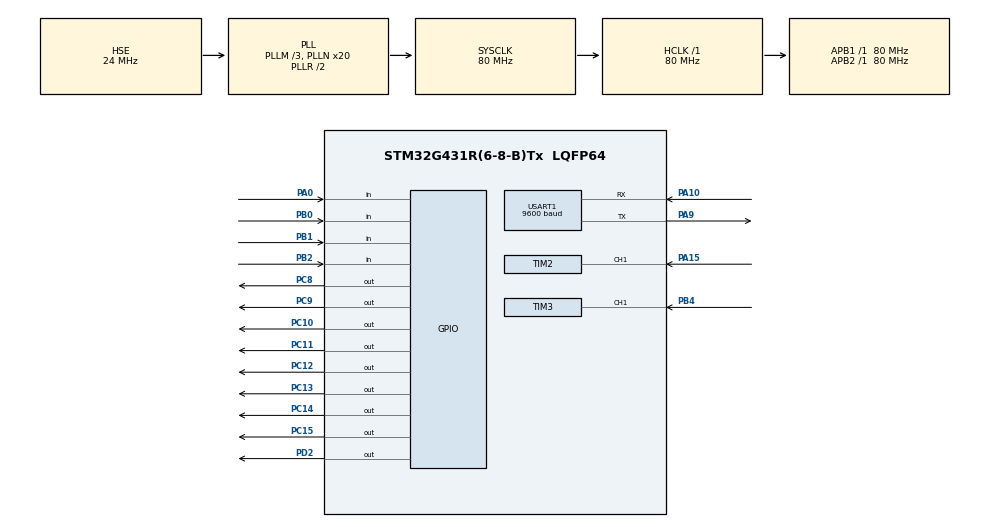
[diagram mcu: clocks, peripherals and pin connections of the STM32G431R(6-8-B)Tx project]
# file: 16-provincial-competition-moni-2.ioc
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Mcu.Family=STM32G4
Mcu.Name=STM32G431R(6-8-B)Tx
Mcu.Package=LQFP64
NVIC.PriorityGroup=NVIC_PRIORITYGROUP_4
NVIC.TIM2_IRQn=true\:0\:0\:false\:false\:true\:true\:true\:true
NVIC.TIM3_IRQn=true\:0\:0\:false\:false\:true\:true\:true\:true
NVIC.TIM6_DAC_IRQn=true\:0\:0\:false\:false\:true\:true\:true\:true
NVIC.USART1_IRQn=true\:0\:0\:false\:false\:true\:true\:true\:true
PA0.GPIO_Mode=GPIO_MODE_INPUT
PA0.GPIO_PuPd=GPIO_PULLUP
PA0.Signal=GPIO_Input
PA10.Mode=Asynchronous
PA10.Signal=USART1_RX
PA13.Mode=Serial_Wire
PA13.Signal=SYS_JTMS-SWDIO
PA14.Mode=Serial_Wire
PA14.Signal=SYS_JTCK-SWCLK
PA15.Signal=S_TIM2_CH1
PA9.Mode=Asynchronous
PA9.Signal=USART1_TX
PB0.GPIO_Mode=GPIO_MODE_INPUT
PB0.GPIO_PuPd=GPIO_PULLUP
PB0.Signal=GPIO_Input
PB1.GPIO_Mode=GPIO_MODE_INPUT
PB1.GPIO_PuPd=GPIO_PULLUP
PB1.Signal=GPIO_Input
PB2.GPIO_Mode=GPIO_MODE_INPUT
PB2.GPIO_PuPd=GPIO_PULLUP
PB2.Signal=GPIO_Input
PB4.Signal=S_TIM3_CH1
PC10.PinState=GPIO_PIN_SET
PC10.Signal=GPIO_Output
PC11.PinState=GPIO_PIN_SET
PC11.Signal=GPIO_Output
PC12.PinState=GPIO_PIN_SET
PC12.Signal=GPIO_Output
PC13.PinState=GPIO_PIN_SET
PC13.Signal=GPIO_Output
PC14-OSC32_IN.PinState=GPIO_PIN_SET
PC14-OSC32_IN.Signal=GPIO_Output
PC15-OSC32_OUT.PinState=GPIO_PIN_SET
PC15-OSC32_OUT.Signal=GPIO_Output
PC8.PinState=GPIO_PIN_SET
PC8.Signal=GPIO_Output
PC9.PinState=GPIO_PIN_SET
PC9.Signal=GPIO_Output
PD2.Signal=GPIO_Output
PF0-OSC_IN.Mode=HSE-External-Oscillator
PF0-OSC_IN.Signal=RCC_OSC_IN
PF1-OSC_OUT.Mode=HSE-External-Oscillator
PF1-OSC_OUT.Signal=RCC_OSC_OUT
ProjectManager.HeapSize=0x200
ProjectManager.StackSize=0x400
ProjectManager.TargetToolchain=MDK-ARM V5.32
RCC.ADC12Freq_Value=80000000
RCC.AHBFreq_Value=80000000
RCC.APB1Freq_Value=80000000
RCC.APB1TimFreq_Value=80000000
RCC.APB2Freq_Value=80000000
RCC.APB2TimFreq_Value=80000000
RCC.CortexFreq_Value=80000000
RCC.EXTERNAL_CLOCK_VALUE=12288000
RCC.HCLKFreq_Value=80000000
RCC.HSE_VALUE=24000000
RCC.HSI48_VALUE=48000000
RCC.HSI_VALUE=16000000
RCC.LSE_VALUE=32768
RCC.PLLM=RCC_PLLM_DIV3
RCC.PLLN=20
RCC.PLLSourceVirtual=RCC_PLLSOURCE_HSE
RCC.SYSCLKFreq_VALUE=80000000
RCC.SYSCLKSource=RCC_SYSCLKSOURCE_PLLCLK
RCC.USBFreq_Value=80000000
RCC.VCOOutputFreq_Value=160000000
SH.S_TIM2_CH1.0=TIM2_CH1,Input_Capture1_from_TI1
SH.S_TIM3_CH1.0=TIM3_CH1,Input_Capture1_from_TI1
TIM2.Channel-Input_Capture1_from_TI1=TIM_CHANNEL_1
TIM2.Prescaler=80-1
TIM3.Channel-Input_Capture1_from_TI1=TIM_CHANNEL_1
TIM3.Prescaler=80-1
TIM6.PeriodNoDither=1000-1
TIM6.Prescaler=8000-1
TIM7.Prescaler=8000-1
USART1.BaudRate=9600
USART1.VirtualMode-Asynchronous=VM_ASYNC
VP_SYS_VS_DBSignals.Mode=DisableDeadBatterySignals
VP_TIM6_VS_ClockSourceINT.Mode=Enable_Timer
VP_TIM7_VS_ClockSourceINT.Mode=Enable_Timer
board=custom

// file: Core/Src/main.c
/* USER CODE BEGIN Header */
/**
  ******************************************************************************
  * @file           : main.c
  * @brief          : Main program body
  ******************************************************************************
  * @attention
  *
  * Copyright (c) 2025 STMicroelectronics.
  * All rights reserved.
  *
  * This software is licensed under terms that can be found in the LICENSE file
  * in the root directory of this software component.
  * If no LICENSE file comes with this software, it is provided AS-IS.
  *
  ******************************************************************************
  */
/* USER CODE END Header */
#include "main.h"
#include "tim.h"
#include "usart.h"
#include "gpio.h"

/* USER CODE BEGIN Includes */
#include "stdio.h"
#include "stdint.h"
#include "string.h"
#include "lcd.h"
/* USER CODE END Includes */

/* USER CODE BEGIN PV */
char text[20];char* mode[2] = {"KEY", "USART"};
uint8_t page, mode_cnt, f1_ic_flag=1, f2_ic_flag=1, led3_flag=0, tim_flag;
uint32_t f1, f2, pf=1000;
uint8_t key_val, key_up, key_down, key_last_val;
char send_buf[255], rec_buf[255];uint8_t rec_data, count, rec_flag;
/* USER CODE END PV */

void SystemClock_Config(void);
/* USER CODE BEGIN PFP */
void LCD_Proc(void);
void KEY_Proc(void);
void LED_Proc(void);
void USART_Proc(void);
/* USER CODE END PFP */

int main(void)
{

  /* MCU Configuration--------------------------------------------------------*/

  /* Reset of all peripherals, Initializes the Flash interface and the Systick. */
  HAL_Init();

  /* Configure the system clock */
  SystemClock_Config();

  /* Initialize all configured peripherals */
  MX_GPIO_Init();
  MX_TIM2_Init();
  MX_TIM3_Init();
  MX_TIM6_Init();
  MX_TIM7_Init();
  MX_USART1_UART_Init();
  /* USER CODE BEGIN 2 */
    // LCD
    LCD_Init();
    LCD_Clear(Black);
    LCD_SetBackColor(Black);
    LCD_SetTextColor(White);
    // TIM
    HAL_TIM_IC_Start_IT(&htim2, TIM_CHANNEL_1);  // PA15---R40
    HAL_TIM_IC_Start_IT(&htim3, TIM_CHANNEL_1);  // PB4----R39
    TIM6->CNT=0;
    TIM7->CNT=0;
    HAL_TIM_Base_Start(&htim7);  // USART
    // USART
    HAL_UART_Receive_IT(&huart1, &rec_data, 1);
  /* USER CODE END 2 */

  /* Infinite loop */
  /* USER CODE BEGIN WHILE */
  while (1)
  {
      KEY_Proc();
      if(f1_ic_flag==0){
          HAL_TIM_IC_Stop_IT(&htim3, TIM_CHANNEL_1);
          TIM3->CNT=0;
      }else{
          HAL_TIM_IC_Start_IT(&htim3, TIM_CHANNEL_1);
      }
      if(f2_ic_flag==0){
          HAL_TIM_IC_Stop_IT(&htim2, TIM_CHANNEL_1);
          TIM2->CNT=0;
      }else{
          HAL_TIM_IC_Start_IT(&htim2, TIM_CHANNEL_1);
      }
      USART_Proc();
      LCD_Proc();
      if(f1<pf && f2<pf){
          if(tim_flag==0){
              __HAL_TIM_CLEAR_FLAG(&htim6, TIM_FLAG_UPDATE);
              HAL_TIM_Base_Start_IT(&htim6);  // LED3
              tim_flag=1;
          }
      }else{
          if(tim_flag==1){
              led3_flag=0;
              HAL_TIM_Base_Stop_IT(&htim6);  // LED3
              TIM6->CNT=0;
              tim_flag=0;
          }
      }
      LED_Proc();
    /* USER CODE END WHILE */

  }
}

void SystemClock_Config(void)
{
  RCC_OscInitTypeDef RCC_OscInitStruct = {0};
  RCC_ClkInitTypeDef RCC_ClkInitStruct = {0};

  /** Configure the main internal regulator output voltage
  */
  HAL_PWREx_ControlVoltageScaling(PWR_REGULATOR_VOLTAGE_SCALE1);

  /** Initializes the RCC Oscillators according to the specified parameters
  * in the RCC_OscInitTypeDef structure.
  */
  RCC_OscInitStruct.OscillatorType = RCC_OSCILLATORTYPE_HSE;
  RCC_OscInitStruct.HSEState = RCC_HSE_ON;
  RCC_OscInitStruct.PLL.PLLState = RCC_PLL_ON;
  RCC_OscInitStruct.PLL.PLLSource = RCC_PLLSOURCE_HSE;
  RCC_OscInitStruct.PLL.PLLM = RCC_PLLM_DIV3;
  RCC_OscInitStruct.PLL.PLLN = 20;
  RCC_OscInitStruct.PLL.PLLP = RCC_PLLP_DIV2;
  RCC_OscInitStruct.PLL.PLLQ = RCC_PLLQ_DIV2;
  RCC_OscInitStruct.PLL.PLLR = RCC_PLLR_DIV2;
  if (HAL_RCC_OscConfig(&RCC_OscInitStruct) != HAL_OK)
  {
    Error_Handler();
  }

  /** Initializes the CPU, AHB and APB buses clocks
  */
  RCC_ClkInitStruct.ClockType = RCC_CLOCKTYPE_HCLK|RCC_CLOCKTYPE_SYSCLK
                              |RCC_CLOCKTYPE_PCLK1|RCC_CLOCKTYPE_PCLK2;
  RCC_ClkInitStruct.SYSCLKSource = RCC_SYSCLKSOURCE_PLLCLK;
  RCC_ClkInitStruct.AHBCLKDivider = RCC_SYSCLK_DIV1;
  RCC_ClkInitStruct.APB1CLKDivider = RCC_HCLK_DIV1;
  RCC_ClkInitStruct.APB2CLKDivider = RCC_HCLK_DIV1;

  if (HAL_RCC_ClockConfig(&RCC_ClkInitStruct, FLASH_LATENCY_2) != HAL_OK)
  {
    Error_Handler();
  }
}

/* USER CODE BEGIN 4 */
void LCD_Proc(void){
    if(page==0){
        sprintf(text, "        DATA        ");
        LCD_DisplayStringLine(Line1, (uint8_t*)text);
        sprintf(text, "     F1=%dHZ     ", f1);
        LCD_DisplayStringLine(Line3, (uint8_t*)text);
        sprintf(text, "     F2=%dHZ     ", f2);
        LCD_DisplayStringLine(Line4, (uint8_t*)text);
        sprintf(text, "     MODE=%s     ", mode[mode_cnt]);
        LCD_DisplayStringLine(Line5, (uint8_t*)text);
    }else{
        sprintf(text, "        PARA        ");
        LCD_DisplayStringLine(Line1, (uint8_t*)text);
        sprintf(text, "     PF=%dHZ     ", pf);
        LCD_DisplayStringLine(Line3, (uint8_t*)text);
    }
}
uint8_t KEY_Scan(void){
    uint8_t key_value;
    if(HAL_GPIO_ReadPin(GPIOB, GPIO_PIN_0)==GPIO_PIN_RESET){
        key_value=1;
    }
    if(HAL_GPIO_ReadPin(GPIOB, GPIO_PIN_1)==GPIO_PIN_RESET){
        key_value=2;
    }
    if(HAL_GPIO_ReadPin(GPIOB, GPIO_PIN_2)==GPIO_PIN_RESET){
        key_value=3;
    }
    if(HAL_GPIO_ReadPin(GPIOA, GPIO_PIN_0)==GPIO_PIN_RESET){
        key_value=4;
    }
    return key_value;
}
void KEY_Proc(void){
    key_val=KEY_Scan();
    key_down=key_val&(key_val^key_last_val);
    key_up=~key_val&(key_val^key_last_val);
    key_last_val=key_val;
    if(key_down==1){
        page^=1;
        LCD_Clear(Black);
    }
    if(key_down==2){
        mode_cnt^=1;
    }
    if(key_down==3){
        if(page==0 && mode_cnt==0){
            f1_ic_flag^=1;
        }
        if(page==1){
            pf+=1000;
            if(pf>10000) pf=1000;
        }
    }
    if(key_down==4){
        if(page==0 && mode_cnt==0){
            f2_ic_flag^=1;
        }
        if(page==1){
            pf-=1000;
            if(pf<1000) pf=10000;
        }
    }
}
void LED_Show(uint8_t led, uint8_t mode){
    if(mode){
        HAL_GPIO_WritePin(GPIOC, led<<8, GPIO_PIN_RESET);
        HAL_GPIO_WritePin(GPIOD, GPIO_PIN_2, GPIO_PIN_SET);
        HAL_GPIO_WritePin(GPIOD, GPIO_PIN_2, GPIO_PIN_RESET);
    }else{
        HAL_GPIO_WritePin(GPIOC, led<<8, GPIO_PIN_SET);
        HAL_GPIO_WritePin(GPIOD, GPIO_PIN_2, GPIO_PIN_SET);
        HAL_GPIO_WritePin(GPIOD, GPIO_PIN_2, GPIO_PIN_RESET);
    }
}
void LED_Proc(void){
    if(page==0){
        LED_Show(0x01, 1);
        LED_Show(0x02, 0);
    }else{
        LED_Show(0x01, 0);
        LED_Show(0x02, 1);
    }
    if(mode_cnt==1) LED_Show(0x80, 1);
    else LED_Show(0x80, 0);
    LED_Show(0x04, led3_flag);
}
void USART_Proc(void){
    if(rec_flag){
        if(TIM7->CNT>15){
            if(mode_cnt==1){
                if(strcmp(rec_buf, "TF1")==0){
                    f1_ic_flag=1;
                }else if(strcmp(rec_buf, "TF2")==0){
                    f2_ic_flag=1;
                }else if(strcmp(rec_buf, "PF1")==0){
                    f1_ic_flag=0;
                }else if(strcmp(rec_buf, "PF2")==0){
                    f2_ic_flag=0;
                }else if(strcmp(rec_buf, "F1")==0){
                    sprintf(send_buf, "F1:%dHZ", f1);
                    HAL_UART_Transmit(&huart1, (uint8_t*)send_buf, strlen(send_buf), 50);
                }else if(strcmp(rec_buf, "F2")==0){
                    sprintf(send_buf, "F2:%dHZ", f2);
                    HAL_UART_Transmit(&huart1, (uint8_t*)send_buf, strlen(send_buf), 50);
                }else{
                    sprintf(send_buf, "NULL");
                    HAL_UART_Transmit(&huart1, (uint8_t*)send_buf, strlen(send_buf), 50);
                }
            }else{
                sprintf(send_buf, "NULL");
                HAL_UART_Transmit(&huart1, (uint8_t*)send_buf, strlen(send_buf), 50);
            }
            rec_flag=0;
            count=0;
            memset(rec_buf, 0, sizeof(rec_buf));
        }
    }
}
void HAL_UART_RxCpltCallback(UART_HandleTypeDef *huart){
    if(huart->Instance==USART1){
        rec_buf[count]=rec_data;
        count++;
        TIM7->CNT=0;
        rec_flag=1;
        HAL_UART_Receive_IT(huart, &rec_data, 1);
    }
}
void HAL_TIM_IC_CaptureCallback(TIM_HandleTypeDef *htim){
    if(htim->Instance==TIM2){
        uint32_t temp = HAL_TIM_ReadCapturedValue(htim, TIM_CHANNEL_1);
        TIM2->CNT=0;
        f2=1000000/temp;
    }
    if(htim->Instance==TIM3){
        uint32_t temp = HAL_TIM_ReadCapturedValue(htim, TIM_CHANNEL_1);
        TIM3->CNT=0;
        f1=1000000/temp;
    }
}
void HAL_TIM_PeriodElapsedCallback(TIM_HandleTypeDef *htim){
    if(htim->Instance==TIM6){
        led3_flag^=1;
    }
}
/* USER CODE END 4 */

void Error_Handler(void)
{
  __disable_irq();
  while (1)
  {
  }
}
